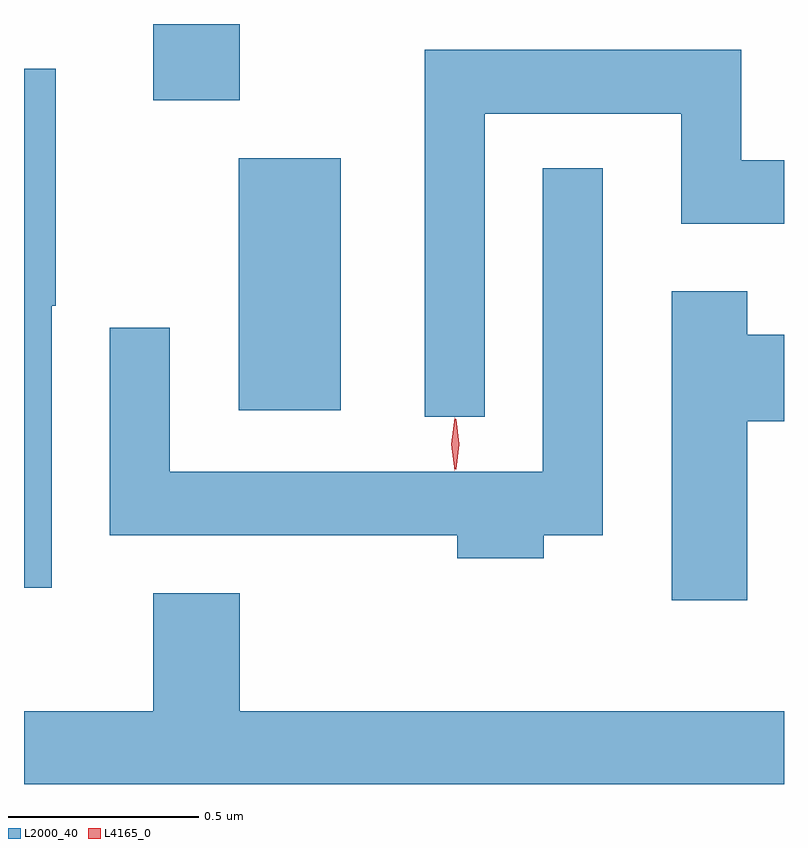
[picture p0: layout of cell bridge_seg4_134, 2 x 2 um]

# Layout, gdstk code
import gdstk
lib = gdstk.Library(unit=1e-6, precision=1e-09)
def R(c, l, rs):  # rectangles x0, y0, x1, y1
    for r in rs: c.add(gdstk.rectangle(r[:2], r[2:], *l))
def P(c, l, *ps):  # polygons
    for p in ps: c.add(gdstk.Polygon(p, *l))
L2000_40 = (2000, 40)
L4165_0 = (4165, 0)

bridge_seg4_134 = lib.new_cell('bridge_seg4_134')
R(bridge_seg4_134, L2000_40, [(887.926,1269.156,888.194,1269.819), (887.701,1269.971,887.929,1270.172)])
P(bridge_seg4_134, L2000_40, [(888.574,1269.936),(889.091,1269.936),(889.091,1269.646),(889.361,1269.646),(889.361,1269.814),(889.249,1269.814),(889.249,1270.104),(888.416,1270.104),(888.416,1269.138),(888.574,1269.138)],
  [(887.434,1269.43),(887.444,1269.43),(887.444,1270.054),(887.361,1270.054),(887.361,1268.688),(887.434,1268.688)],
  [(888.729,1268.826),(888.884,1268.826),(888.884,1269.793),(888.726,1269.793),(888.726,1268.994),(887.744,1268.994),(887.744,1269.373),(887.586,1269.373),(887.586,1268.826),(888.501,1268.826),(888.501,1268.766),(888.729,1268.766)],
  [(889.264,1269.126),(889.361,1269.126),(889.361,1269.354),(889.264,1269.354),(889.264,1269.469),(889.066,1269.469),(889.066,1268.656),(889.264,1268.656)],
  [(889.361,1268.364),(887.929,1268.364),(887.929,1268.674),(887.701,1268.674),(887.701,1268.364),(887.361,1268.364),(887.361,1268.172),(889.361,1268.172)])
P(bridge_seg4_134, L4165_0, [(888.497,1269),(888.487,1269.066),(888.496,1269.132),(888.497,1269.133),(888.498,1269.132),(888.507,1269.066),(888.498,1269),(888.498,1269)],
  [(888.494,1268.997),(888.485,1269.066),(888.494,1269.136),(888.495,1269.136),(888.495,1269.136),(888.505,1269.066),(888.495,1268.997),(888.495,1268.997)])

lib.write_gds('bridge_seg4_134.gds')
